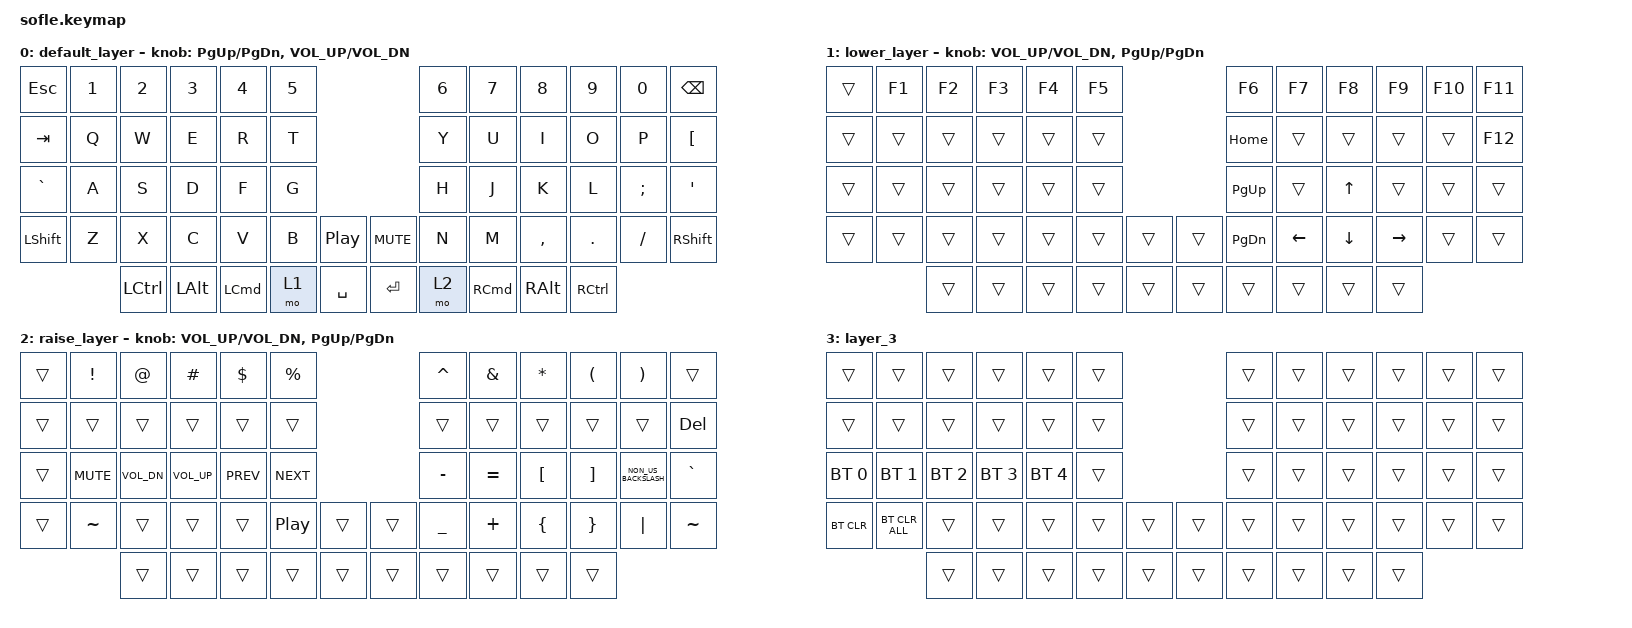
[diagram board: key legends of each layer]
/*
 * Copyright (c) 2020 The ZMK Contributors
 *
 * SPDX-License-Identifier: MIT
 */

#include <behaviors.dtsi>
#include <dt-bindings/zmk/bt.h>
#include <dt-bindings/zmk/keys.h>

/ {
    keymap {
        compatible = "zmk,keymap";

        default_layer {
            // ------------------------------------------------------------------------------------------------------------
            // |  `    |  1  |  2  |  3   |  4   |  5   |                   |  6   |  7    |  8    |  9   |   0   |       |
            // |  ESC  |  Q  |  W  |  E   |  R   |  T   |                   |  Y   |  U    |  I    |  O   |   P   | BKSPC |
            // |  TAB  |  A  |  S  |  D   |  F   |  G   |                   |  H   |  J    |  K    |  L   |   ;   |   '   |
            // | SHIFT |  Z  |  X  |  C   |  V   |  B   |  MUTE  |  |       |  N   |  M    |  ,    |  .   |   /   | SHIFT |
            //               | GUI | ALT  | CTRL | LOWER|  ENTER |  | SPACE | RAISE| CTRL  | ALT   | GUI  |

            bindings = <
&kp ESCAPE  &kp N1  &kp N2            &kp N3    &kp N4            &kp N5                           &kp N6  &kp N7             &kp N8     &kp N9             &kp N0    &kp BACKSPACE
&kp TAB     &kp Q   &kp W             &kp E     &kp R             &kp T                            &kp Y   &kp U              &kp I      &kp O              &kp P     &kp LEFT_BRACKET
&kp GRAVE   &kp A   &kp S             &kp D     &kp F             &kp G                            &kp H   &kp J              &kp K      &kp L              &kp SEMI  &kp SQT
&kp LSHFT   &kp Z   &kp X             &kp C     &kp V             &kp B   &kp C_PP     &kp C_MUTE  &kp N   &kp M              &kp COMMA  &kp DOT            &kp FSLH  &kp RSHFT
                    &kp LEFT_CONTROL  &kp LALT  &kp LEFT_COMMAND  &mo 1   &kp SPACE    &kp ENTER   &mo 2   &kp RIGHT_COMMAND  &kp RALT   &kp RIGHT_CONTROL
            >;

            sensor-bindings =
                <&inc_dec_kp PG_UP PG_DN>,
                <&inc_dec_kp C_VOL_UP C_VOL_DN>;
        };

        lower_layer {
            // TODO: Some binds are waiting for shifted keycode support.
            // ------------------------------------------------------------------------------------------------------------
            // |       |  F1 |  F2 |  F3  |  F4  |  F5  |                   |  F6  |  F7   |  F8   |  F9  |  F10  |  F11  |
            // | `     |   1 |   2 |   3  |   4  |   5  |                   |   6  |   7   |   8   |   9  |    0  |  F12  |
            // |       |  !  |  @  |  #   |  $   |  %   |                   |  ^   |  &    |  *    |  (   |   )   |   |   |
            // |       |  =  |  -  |  +   |  {   |  }   |        |  |       |  [   |  ]    |  ;    |  :   |   \   |       |
            //               |     |      |      |      |        |  |       |      |       |       |      |

            bindings = <
&trans  &kp F1  &kp F2  &kp F3  &kp F4  &kp F5                    &kp F6     &kp F7    &kp F8    &kp F9     &kp F10  &kp F11
&trans  &trans  &trans  &trans  &trans  &trans                    &kp HOME   &trans    &trans    &trans     &trans   &kp F12
&trans  &trans  &trans  &trans  &trans  &trans                    &kp PG_UP  &trans    &kp UP    &trans     &trans   &trans
&trans  &trans  &trans  &trans  &trans  &trans  &trans    &trans  &kp PG_DN  &kp LEFT  &kp DOWN  &kp RIGHT  &trans   &trans
                &trans  &trans  &trans  &trans  &trans    &trans  &trans     &trans    &trans    &trans
            >;

            sensor-bindings = <&inc_dec_kp C_VOL_UP C_VOL_DN &inc_dec_kp PG_UP PG_DN>;
        };

        raise_layer {
            // ------------------------------------------------------------------------------------------------------------
            // |BTCLR| BT1  | BT2  |  BT3  |  BT4  |  BT5 |                |      |      |       |      |       |       |
            // |     | INS  | PSCR | GUI   |       |      |                | PGUP |      |       |      |       |       |
            // |     | ALT  | CTRL | SHIFT |       | CAPS |                |  <-  |   v  |   ^   |  ->  |  DEL  | BKSPC |
            // |     | UNDO | CUT  | COPY  | PASTE |      |      |  |      |      |      |       |      |       |       |
            //              |      |       |       |      |      |  |      |      |      |       |      |

            bindings = <
&trans  &kp EXCLAMATION  &kp AT_SIGN   &kp HASH      &kp DOLLAR  &kp PERCENT                    &kp CARET       &kp AMPERSAND  &kp ASTERISK      &kp LEFT_PARENTHESIS  &kp RIGHT_PARENTHESIS  &trans
&trans  &trans           &trans        &trans        &trans      &trans                         &trans          &trans         &trans            &trans                &trans                 &kp DELETE
&trans  &kp K_MUTE       &kp C_VOL_DN  &kp C_VOL_UP  &kp C_PREV  &kp C_NEXT                     &kp MINUS       &kp EQUAL      &kp LEFT_BRACKET  &kp RIGHT_BRACKET     &kp NON_US_BACKSLASH   &kp GRAVE
&trans  &kp TILDE        &trans        &trans        &trans      &kp C_PP     &trans    &trans  &kp UNDERSCORE  &kp PLUS       &kp LEFT_BRACE    &kp RIGHT_BRACE       &kp PIPE               &kp TILDE
                         &trans        &trans        &trans      &trans       &trans    &trans  &trans          &trans         &trans            &trans
            >;

            sensor-bindings = <&inc_dec_kp C_VOL_UP C_VOL_DN &inc_dec_kp PG_UP PG_DN>;
        };

        layer_3 {
            bindings = <
&trans        &trans          &trans        &trans        &trans        &trans                    &trans  &trans  &trans  &trans  &trans  &trans
&trans        &trans          &trans        &trans        &trans        &trans                    &trans  &trans  &trans  &trans  &trans  &trans
&bt BT_SEL 0  &bt BT_SEL 1    &bt BT_SEL 2  &bt BT_SEL 3  &bt BT_SEL 4  &trans                    &trans  &trans  &trans  &trans  &trans  &trans
&bt BT_CLR    &bt BT_CLR_ALL  &trans        &trans        &trans        &trans  &trans    &trans  &trans  &trans  &trans  &trans  &trans  &trans
                              &trans        &trans        &trans        &trans  &trans    &trans  &trans  &trans  &trans  &trans
            >;
        };
    };

    conditional_layers {
        compatible = "zmk,conditional-layers";

        L3 {
            if-layers = <1 2>;
            then-layer = <3>;
        };
    };
};
